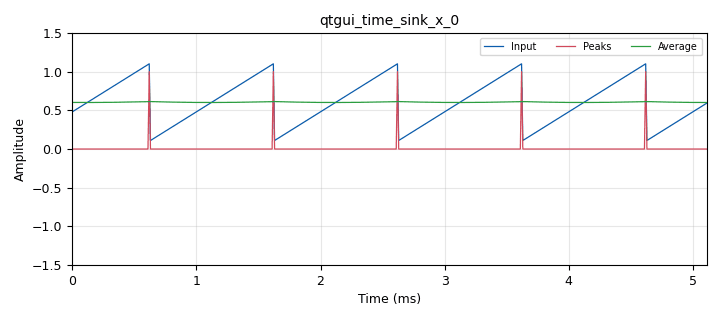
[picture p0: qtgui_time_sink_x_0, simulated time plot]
<?xml version='1.0' encoding='utf-8'?>
<?grc format='1' created='3.7.8'?>
<flow_graph>
<block>
<key>options</key>
<param><key>id</key><value>test_peak2</value></param>
<param><key>generate_options</key><value>qt_gui</value></param>
<param><key>category</key><value>Custom</value></param>
<param><key>run_options</key><value>run</value></param>
</block>
<block>
<key>variable</key>
<param><key>id</key><value>factor</value></param>
<param><key>value</key><value>0.3</value></param>
</block>
<block>
<key>variable</key>
<param><key>id</key><value>alpha</value></param>
<param><key>value</key><value>0.001</value></param>
</block>
<block>
<key>variable</key>
<param><key>id</key><value>lookahead</value></param>
<param><key>value</key><value>int(samp_rate/1e3/1.1)</value></param>
</block>
<block>
<key>variable</key>
<param><key>id</key><value>samp_rate</value></param>
<param><key>value</key><value>100e3</value></param>
</block>
<block>
<key>qtgui_time_sink_x</key>
<param><key>id</key><value>qtgui_time_sink_x_0</value></param>
<param><key>type</key><value>float</value></param>
<param><key>size</key><value>512</value></param>
<param><key>srate</key><value>samp_rate</value></param>
<param><key>grid</key><value>True</value></param>
<param><key>ymin</key><value>-1.5</value></param>
<param><key>ymax</key><value>1.5</value></param>
<param><key>nconnections</key><value>3</value></param>
<param><key>tr_mode</key><value>qtgui.TRIG_MODE_AUTO</value></param>
<param><key>ctrlpanel</key><value>True</value></param>
<param><key>label1</key><value>Input</value></param>
<param><key>color1</key><value>"blue"</value></param>
<param><key>label2</key><value>Peaks</value></param>
<param><key>color2</key><value>"red"</value></param>
<param><key>label3</key><value>Average</value></param>
<param><key>color3</key><value>"green"</value></param>
</block>
<block>
<key>blocks_char_to_float</key>
<param><key>id</key><value>blocks_char_to_float_0</value></param>
<param><key>scale</key><value>1</value></param>
</block>
<block>
<key>blocks_peak_detector2_fb</key>
<param><key>id</key><value>blocks_peak_detector2_fb_0</value></param>
<param><key>threshold_factor_rise</key><value>factor</value></param>
<param><key>look_ahead</key><value>lookahead</value></param>
<param><key>alpha</key><value>alpha</value></param>
</block>
<block>
<key>blocks_file_sink</key>
<param><key>id</key><value>blocks_file_sink_0_1</value></param>
<param><key>_enabled</key><value>False</value></param>
<param><key>file</key><value>flag.data</value></param>
<param><key>type</key><value>float</value></param>
</block>
<block>
<key>blocks_file_sink</key>
<param><key>id</key><value>blocks_file_sink_0_0</value></param>
<param><key>_enabled</key><value>False</value></param>
<param><key>file</key><value>avg.data</value></param>
<param><key>type</key><value>float</value></param>
</block>
<block>
<key>blocks_file_sink</key>
<param><key>id</key><value>blocks_file_sink_0</value></param>
<param><key>_enabled</key><value>False</value></param>
<param><key>file</key><value>in.data</value></param>
<param><key>type</key><value>float</value></param>
</block>
<block>
<key>variable_qtgui_range</key>
<param><key>id</key><value>offset</value></param>
<param><key>value</key><value>0.1</value></param>
<param><key>start</key><value>-1.5</value></param>
<param><key>stop</key><value>1.5</value></param>
<param><key>step</key><value>0.1</value></param>
<param><key>orient</key><value>Qt.Horizontal</value></param>
</block>
<block>
<key>analog_sig_source_x</key>
<param><key>id</key><value>analog_sig_source_x_0</value></param>
<param><key>type</key><value>float</value></param>
<param><key>samp_rate</key><value>samp_rate</value></param>
<param><key>waveform</key><value>analog.GR_SAW_WAVE</value></param>
<param><key>freq</key><value>1000</value></param>
<param><key>amp</key><value>1</value></param>
<param><key>offset</key><value>offset</value></param>
</block>
<block>
<key>blocks_throttle</key>
<param><key>id</key><value>blocks_throttle_0</value></param>
<param><key>type</key><value>float</value></param>
<param><key>samples_per_second</key><value>samp_rate</value></param>
</block>
<connection><source_block_id>blocks_char_to_float_0</source_block_id><sink_block_id>blocks_file_sink_0_1</sink_block_id><source_key>0</source_key><sink_key>0</sink_key></connection>
<connection><source_block_id>blocks_peak_detector2_fb_0</source_block_id><sink_block_id>blocks_file_sink_0_0</sink_block_id><source_key>1</source_key><sink_key>0</sink_key></connection>
<connection><source_block_id>blocks_throttle_0</source_block_id><sink_block_id>qtgui_time_sink_x_0</sink_block_id><source_key>0</source_key><sink_key>0</sink_key></connection>
<connection><source_block_id>blocks_char_to_float_0</source_block_id><sink_block_id>qtgui_time_sink_x_0</sink_block_id><source_key>0</source_key><sink_key>1</sink_key></connection>
<connection><source_block_id>blocks_peak_detector2_fb_0</source_block_id><sink_block_id>qtgui_time_sink_x_0</sink_block_id><source_key>1</source_key><sink_key>2</sink_key></connection>
<connection><source_block_id>blocks_throttle_0</source_block_id><sink_block_id>blocks_peak_detector2_fb_0</sink_block_id><source_key>0</source_key><sink_key>0</sink_key></connection>
<connection><source_block_id>blocks_peak_detector2_fb_0</source_block_id><sink_block_id>blocks_char_to_float_0</sink_block_id><source_key>0</source_key><sink_key>0</sink_key></connection>
<connection><source_block_id>blocks_throttle_0</source_block_id><sink_block_id>blocks_file_sink_0</sink_block_id><source_key>0</source_key><sink_key>0</sink_key></connection>
<connection><source_block_id>analog_sig_source_x_0</source_block_id><sink_block_id>blocks_throttle_0</sink_block_id><source_key>0</source_key><sink_key>0</sink_key></connection>
</flow_graph>
